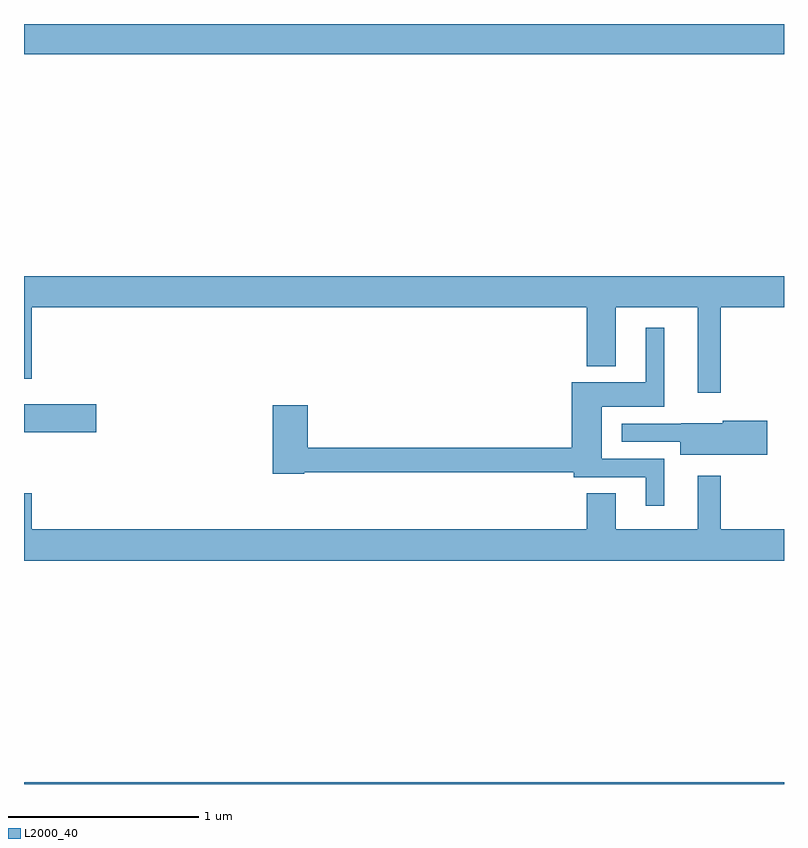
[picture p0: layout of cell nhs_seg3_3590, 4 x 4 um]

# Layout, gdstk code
import gdstk
lib = gdstk.Library(unit=1e-6, precision=1e-09)
def R(c, l, rs):  # rectangles x0, y0, x1, y1
    for r in rs: c.add(gdstk.rectangle(r[:2], r[2:], *l))
def P(c, l, *ps):  # polygons
    for p in ps: c.add(gdstk.Polygon(p, *l))
L2000_40 = (2000, 40)

nhs_seg3_3590 = lib.new_cell('nhs_seg3_3590')
R(nhs_seg3_3590, L2000_40, [(297,706.4,301,706.408), (297,708.251,297.379,708.398), (297,710.24,301,710.4)])
P(nhs_seg3_3590, L2000_40, [(300.667,708.908),(301,708.908),(301,709.072),(297,709.072),(297,708.534),(297.04,708.534),(297.04,708.908),(299.963,708.908),(299.963,708.599),(300.115,708.599),(300.115,708.908),(300.545,708.908),(300.545,708.459),(300.667,708.459)],
  [(300.37,708.111),(300.04,708.111),(300.04,708.386),(300.37,708.386),(300.37,708.802),(300.272,708.802),(300.272,708.514),(299.882,708.514),(299.882,708.17),(298.493,708.17),(298.493,708.394),(298.31,708.394),(298.31,708.034),(298.476,708.034),(298.476,708.042),(299.894,708.042),(299.894,708.015),(300.272,708.015),(300.272,707.865),(300.37,707.865)],
  [(300.913,708.311),(300.678,708.311),(300.678,708.298),(300.459,708.298),(300.459,708.297),(300.147,708.297),(300.147,708.201),(300.455,708.201),(300.455,708.133),(300.913,708.133)],
  [(301,707.74),(300.667,707.74),(300.667,708.022),(300.545,708.022),(300.545,707.74),(300.115,707.74),(300.115,707.93),(299.963,707.93),(299.963,707.74),(297.04,707.74),(297.04,707.929),(297,707.929),(297,707.576),(301,707.576)])

lib.write_gds('nhs_seg3_3590.gds')
